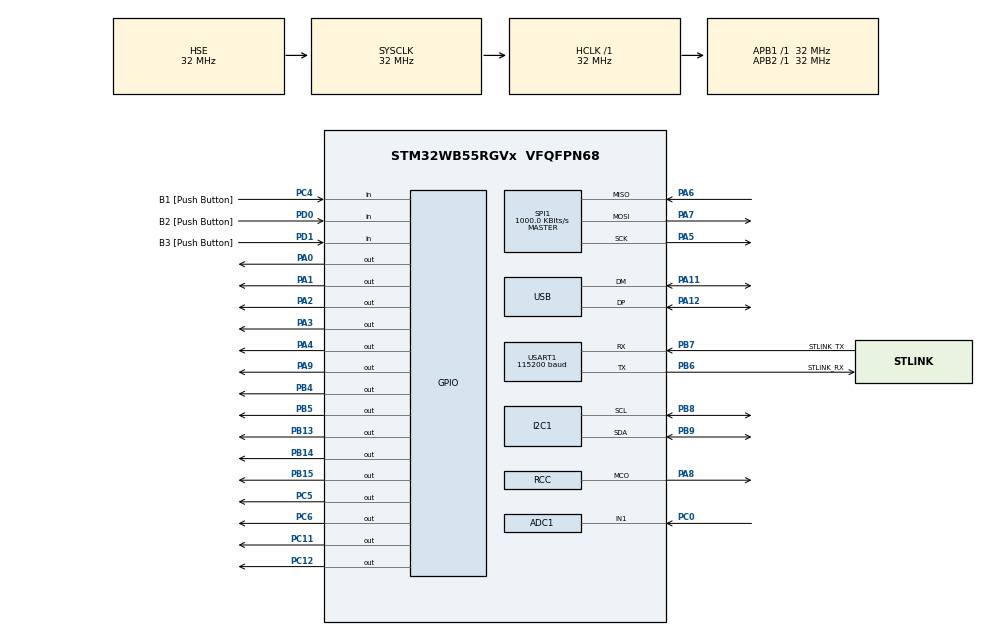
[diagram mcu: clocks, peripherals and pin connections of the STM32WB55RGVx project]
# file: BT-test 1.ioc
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ADC1.Channel-0\#ChannelRegularConversion=ADC_CHANNEL_1
ADC1.NbrOfConversionFlag=1
ADC1.OffsetNumber-0\#ChannelRegularConversion=ADC_OFFSET_NONE
ADC1.Rank-0\#ChannelRegularConversion=1
ADC1.SamplingTime-0\#ChannelRegularConversion=ADC_SAMPLETIME_2CYCLES_5
ADC1.master=1
Dma.Request0=USART1_RX
Dma.Request1=USART1_TX
Dma.USART1_RX.0.Direction=DMA_PERIPH_TO_MEMORY
Dma.USART1_RX.0.EventEnable=DISABLE
Dma.USART1_RX.0.Instance=DMA1_Channel1
Dma.USART1_RX.0.MemDataAlignment=DMA_MDATAALIGN_BYTE
Dma.USART1_RX.0.MemInc=DMA_MINC_ENABLE
Dma.USART1_RX.0.Mode=DMA_NORMAL
Dma.USART1_RX.0.PeriphDataAlignment=DMA_PDATAALIGN_BYTE
Dma.USART1_RX.0.PeriphInc=DMA_PINC_DISABLE
Dma.USART1_RX.0.Polarity=HAL_DMAMUX_REQ_GEN_RISING
Dma.USART1_RX.0.Priority=DMA_PRIORITY_LOW
Dma.USART1_RX.0.RequestNumber=1
Dma.USART1_RX.0.SignalID=NONE
Dma.USART1_RX.0.SyncEnable=DISABLE
Dma.USART1_RX.0.SyncPolarity=HAL_DMAMUX_SYNC_NO_EVENT
Dma.USART1_RX.0.SyncRequestNumber=1
Dma.USART1_RX.0.SyncSignalID=NONE
Dma.USART1_TX.1.Direction=DMA_MEMORY_TO_PERIPH
Dma.USART1_TX.1.EventEnable=DISABLE
Dma.USART1_TX.1.Instance=DMA1_Channel2
Dma.USART1_TX.1.MemDataAlignment=DMA_MDATAALIGN_BYTE
Dma.USART1_TX.1.MemInc=DMA_MINC_ENABLE
Dma.USART1_TX.1.Mode=DMA_NORMAL
Dma.USART1_TX.1.PeriphDataAlignment=DMA_PDATAALIGN_BYTE
Dma.USART1_TX.1.PeriphInc=DMA_PINC_DISABLE
Dma.USART1_TX.1.Polarity=HAL_DMAMUX_REQ_GEN_RISING
Dma.USART1_TX.1.Priority=DMA_PRIORITY_LOW
Dma.USART1_TX.1.RequestNumber=1
Dma.USART1_TX.1.SignalID=NONE
Dma.USART1_TX.1.SyncEnable=DISABLE
Dma.USART1_TX.1.SyncPolarity=HAL_DMAMUX_SYNC_NO_EVENT
Dma.USART1_TX.1.SyncRequestNumber=1
Dma.USART1_TX.1.SyncSignalID=NONE
I2C1.Timing=0x00707CBB
Mcu.Family=STM32WB
Mcu.Name=STM32WB55RGVx
Mcu.Package=VFQFPN68
NVIC.DMA1_Channel1_IRQn=true\:0\:0\:false\:false\:true\:false\:true\:true
NVIC.DMA1_Channel2_IRQn=true\:0\:0\:false\:false\:true\:false\:true\:true
NVIC.HSEM_IRQn=true\:0\:0\:false\:false\:true\:false\:true\:true
NVIC.IPCC_C1_RX_IRQn=true\:0\:0\:false\:false\:true\:true\:true\:true
NVIC.IPCC_C1_TX_IRQn=true\:0\:0\:false\:false\:true\:true\:true\:true
NVIC.PriorityGroup=NVIC_PRIORITYGROUP_4
NVIC.RTC_WKUP_IRQn=true\:0\:0\:false\:false\:true\:true\:true\:true
NVIC.SPI1_IRQn=true\:0\:0\:false\:false\:true\:true\:true\:true
NVIC.USART1_IRQn=true\:0\:0\:false\:false\:true\:true\:true\:true
OSC_IN.Mode=HSE-External-Oscillator
OSC_IN.Signal=RCC_OSC_IN
OSC_OUT.Mode=HSE-External-Oscillator
OSC_OUT.Signal=RCC_OSC_OUT
PA0.Signal=GPIO_Output
PA1.Signal=GPIO_Output
PA11.Mode=Device
PA11.Signal=USB_DM
PA12.Mode=Device
PA12.Signal=USB_DP
PA13.GPIO_Label=JTMS
PA13.Mode=Serial_Wire
PA13.Signal=SYS_JTMS-SWDIO
PA14.GPIO_Label=JTCK
PA14.Mode=Serial_Wire
PA14.Signal=SYS_JTCK-SWCLK
PA2.Signal=GPIO_Output
PA3.Signal=GPIO_Output
PA4.Signal=GPIO_Output
PA5.Mode=Full_Duplex_Master
PA5.Signal=SPI1_SCK
PA6.Mode=Full_Duplex_Master
PA6.Signal=SPI1_MISO
PA7.Mode=Full_Duplex_Master
PA7.Signal=SPI1_MOSI
PA8.Mode=Clock-out
PA8.Signal=RCC_MCO
PA9.Signal=GPIO_Output
PB13.Signal=GPIO_Output
PB14.Signal=GPIO_Output
PB15.Signal=GPIO_Output
PB3.GPIO_Label=JTDO
PB3.Signal=SYS_JTDO-SWO
PB4.Signal=GPIO_Output
PB5.Signal=GPIO_Output
PB6.GPIO_Label=STLINK_RX
PB6.GPIO_PuPd=GPIO_PULLUP
PB6.Mode=Asynchronous
PB6.Signal=USART1_TX
PB7.GPIO_Label=STLINK_TX
PB7.GPIO_PuPd=GPIO_PULLUP
PB7.Mode=Asynchronous
PB7.Signal=USART1_RX
PB8.GPIO_Pu=GPIO_PULLUP
PB8.GPIO_Speed=GPIO_SPEED_FREQ_VERY_HIGH
PB8.Mode=I2C
PB8.Signal=I2C1_SCL
PB9.GPIO_Pu=GPIO_PULLUP
PB9.GPIO_Speed=GPIO_SPEED_FREQ_VERY_HIGH
PB9.Mode=I2C
PB9.Signal=I2C1_SDA
PC0.Signal=ADCx_IN1
PC11.Signal=GPIO_Output
PC12.Signal=GPIO_Output
PC13.Signal=SYS_WKUP2
PC14-OSC32_IN.Mode=LSE-External-Oscillator
PC14-OSC32_IN.Signal=RCC_OSC32_IN
PC15-OSC32_OUT.Mode=LSE-External-Oscillator
PC15-OSC32_OUT.Signal=RCC_OSC32_OUT
PC4.GPIO_Label=B1 [Push Button]
PC4.Signal=GPIO_Input
PC5.Signal=GPIO_Output
PC6.Signal=GPIO_Output
PD0.GPIO_Label=B2 [Push Button]
PD0.Signal=GPIO_Input
PD1.GPIO_Label=B3 [Push Button]
PD1.Signal=GPIO_Input
ProjectManager.HeapSize=0x200
ProjectManager.StackSize=0x400
ProjectManager.TargetToolchain=STM32CubeIDE
RCC.ADCFreq_Value=48000000
RCC.AHBFreq_Value=32000000
RCC.APB1Freq_Value=32000000
RCC.APB1TimFreq_Value=32000000
RCC.APB2Freq_Value=32000000
RCC.APB2TimFreq_Value=32000000
RCC.APB3Freq_Value=16000000
RCC.CortexFreq_Value=32000000
RCC.HCLKFreq_Value=32000000
RCC.HSE_VALUE=32000000
RCC.HSI48_VALUE=48000000
RCC.HSI_VALUE=16000000
RCC.PLLN=32
RCC.PLLP=RCC_PLLP_DIV7
RCC.PLLSAI1N=24
RCC.RFWKPClockSelection=RCC_RFWKPCLKSOURCE_LSE
RCC.RTCClockSelection=RCC_RTCCLKSOURCE_LSE
RCC.SMPSCLockSelectionVirtual=RCC_SMPSCLKSOURCE_HSI
RCC.SMPSCLockSelectionVirtualVirtual=RCC_SMPSCLKSOURCE_HSI
RCC.SMPSDivider=1
RCC.SYSCLKFreq_VALUE=32000000
RCC.SYSCLKSource=RCC_SYSCLKSOURCE_HSE
RCC.USBFreq_Value=48000000
RCC.VCOOutputFreq_Value=128000000
RF1.Mode=RF1_Activate
RF1.Signal=RF_RF1
SH.ADCx_IN1.0=ADC1_IN1,IN1-Single-Ended
SPI1.BaudRatePrescaler=SPI_BAUDRATEPRESCALER_32
SPI1.CalculateBaudRate=1000.0 KBits/s
SPI1.DataSize=SPI_DATASIZE_8BIT
SPI1.Direction=SPI_DIRECTION_2LINES
SPI1.Mode=SPI_MODE_MASTER
SPI1.NSSPMode=SPI_NSS_PULSE_DISABLE
SPI1.VirtualType=VM_MASTER
STM32_WPAN.AD_TYPE_COMPLETE_LOCAL_NAME=SMRTGLV
STM32_WPAN.AD_TYPE_COMPLETE_LOCAL_NAME_LENGTH=8
STM32_WPAN.CFG_GAP_DEVICE_NAME=smartGlv
STM32_WPAN.CUSTOM_P2P_SERVER=Disabled
STM32_WPAN.CUSTOM_TEMPLATE=Enabled
STM32_WPAN.INCLUDE_AD_TYPE_COMPLETE_LOCAL_NAME=1
STM32_WPAN.NUMBER_OF_SERVICES=1
STM32_WPAN.SERVICE1_CHAR1_LONG_NAME=fingerPack
STM32_WPAN.SERVICE1_CHAR1_PROP_NOTIFY=CHAR_PROP_NOTIFY
STM32_WPAN.SERVICE1_CHAR1_SHORT_NAME=f1
STM32_WPAN.SERVICE1_CHAR1_VALUE_LENGTH=15
STM32_WPAN.SERVICE1_CHAR2_LONG_NAME=handPack
STM32_WPAN.SERVICE1_CHAR2_PROP_NOTIFY=CHAR_PROP_NOTIFY
STM32_WPAN.SERVICE1_CHAR2_SHORT_NAME=f2
STM32_WPAN.SERVICE1_CHAR2_UUID=00 01
STM32_WPAN.SERVICE1_CHAR2_VALUE_LENGTH=12
STM32_WPAN.SERVICE1_CHAR3_LONG_NAME=fingerThree
STM32_WPAN.SERVICE1_CHAR3_PROP_NOTIFY=CHAR_PROP_NOTIFY
STM32_WPAN.SERVICE1_CHAR3_SHORT_NAME=f3
STM32_WPAN.SERVICE1_CHAR3_UUID=00 02
STM32_WPAN.SERVICE1_CHAR3_VALUE_LENGTH=4
STM32_WPAN.SERVICE1_CHAR4_LONG_NAME=fingerFour
STM32_WPAN.SERVICE1_CHAR4_PROP_NOTIFY=CHAR_PROP_NOTIFY
STM32_WPAN.SERVICE1_CHAR4_SHORT_NAME=f4
STM32_WPAN.SERVICE1_CHAR4_UUID=00 03
STM32_WPAN.SERVICE1_CHAR4_VALUE_LENGTH=4
STM32_WPAN.SERVICE1_CHAR5_LONG_NAME=thumbData
STM32_WPAN.SERVICE1_CHAR5_PROP_NOTIFY=CHAR_PROP_NOTIFY
STM32_WPAN.SERVICE1_CHAR5_SHORT_NAME=tData
STM32_WPAN.SERVICE1_CHAR5_UUID=00 04
STM32_WPAN.SERVICE1_CHAR5_VALUE_LENGTH=4
STM32_WPAN.SERVICE1_LONG_NAME=smartGlove
STM32_WPAN.SERVICE1_NUMBER_OF_CHARACTERISTICS=2
STM32_WPAN.SERVICE1_SHORT_NAME=smrtGlv
USART1.BaudRate=115200
USART1.VirtualMode-Asynchronous=VM_ASYNC
USART1.WordLength=WORDLENGTH_8B
VP_HSEM_VS_HSEM.Mode=HSEM_Activate
VP_IPCC_VS_IPCC.Mode=IPCC_Activate
VP_MEMORYMAP_VS_MEMORYMAP.Mode=CurAppReg
VP_RTC_VS_RTC_Activate.Mode=RTC_Enabled
VP_RTC_VS_RTC_WakeUp_intern.Mode=WakeUp
VP_SEQUENCER_VS_SEQUENCER.Mode=SEQUENCER_Enabled
VP_STM32_WPAN_VS_BLE_HOST.Mode=STM32_WPAN_Enabled
VP_TINY_LPM_VS_TINY_LPM.Mode=TINY_LPM_Enabled
board=NUCLEO-WB55RG

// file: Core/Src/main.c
/* USER CODE BEGIN Header */
/**
  ******************************************************************************
  * @file           : main.c
  * @brief          : Main program body
  ******************************************************************************
  * @attention
  *
  * Copyright (c) 2024 STMicroelectronics.
  * All rights reserved.
  *
  * This software is licensed under terms that can be found in the LICENSE file
  * in the root directory of this software component.
  * If no LICENSE file comes with this software, it is provided AS-IS.
  *
  ******************************************************************************
  */
/* USER CODE END Header */
#include "main.h"

/* USER CODE BEGIN Includes */
#include "bmi323_task.h"
#include "init.h"
#include "ADS1115.h"

/* USER CODE END Includes */

ADC_HandleTypeDef hadc1;

I2C_HandleTypeDef hi2c1;

IPCC_HandleTypeDef hipcc;

RTC_HandleTypeDef hrtc;

SPI_HandleTypeDef hspi1;

UART_HandleTypeDef huart1;
DMA_HandleTypeDef hdma_usart1_rx;
DMA_HandleTypeDef hdma_usart1_tx;

PCD_HandleTypeDef hpcd_USB_FS;

void SystemClock_Config(void);
void PeriphCommonClock_Config(void);
static void MX_GPIO_Init(void);
static void MX_DMA_Init(void);
static void MX_USART1_UART_Init(void);
static void MX_USB_PCD_Init(void);
static void MX_SPI1_Init(void);
static void MX_IPCC_Init(void);
static void MX_RTC_Init(void);
static void MX_ADC1_Init(void);
static void MX_I2C1_Init(void);
static void MX_RF_Init(void);

/* USER CODE BEGIN 0 */
struct bmi3_dev dev[11];
Hand hand;
Finger finger;
vec3 hand_basis[3];
rotation_vec3 rotation_data;
IMUData hand_sensor_data;
FingerSensorData finger_sensor_data[5];

/* USER CODE END 0 */

int main(void)
{

  /* MCU Configuration--------------------------------------------------------*/

  /* Reset of all peripherals, Initializes the Flash interface and the Systick. */
  HAL_Init();
  /* Config code for STM32_WPAN (HSE Tuning must be done before system clock configuration) */
  MX_APPE_Config();

  /* Configure the system clock */
  SystemClock_Config();

/* Configure the peripherals common clocks */
  PeriphCommonClock_Config();

  /* IPCC initialisation */
  MX_IPCC_Init();

  /* Initialize all configured peripherals */
  MX_GPIO_Init();
  MX_DMA_Init();
  MX_USART1_UART_Init();
  MX_USB_PCD_Init();
  MX_SPI1_Init();
  MX_RTC_Init();
  MX_ADC1_Init();
  MX_I2C1_Init();
  MX_RF_Init();

  /* Init code for STM32_WPAN */
  MX_APPE_Init();

  /* Infinite loop */
  /* USER CODE BEGIN WHILE */

	int8_t rslt = BMI3_OK;
	uint8_t flag;

/* Implementation of the sensor read/write function cannot really be changed so here we go*/
	dev[0].read = (bmi3_read_fptr_t)SensorAPI_SPIx_Read1;
	dev[0].write = (bmi3_write_fptr_t)SensorAPI_SPIx_Write1;
	Init_BMI323(&dev[0]);
	HAL_Delay(10);

	dev[1].read = (bmi3_read_fptr_t)SensorAPI_SPIx_Read2;
	dev[1].write = (bmi3_write_fptr_t)SensorAPI_SPIx_Write2;
	Init_BMI323(&dev[1]);
	HAL_Delay(10);

	dev[2].read = (bmi3_read_fptr_t)SensorAPI_SPIx_Read3;
	dev[2].write = (bmi3_write_fptr_t)SensorAPI_SPIx_Write3;
	Init_BMI323(&dev[2]);
	HAL_Delay(10);

	dev[3].read = (bmi3_read_fptr_t)SensorAPI_SPIx_Read4;
	dev[3].write = (bmi3_write_fptr_t)SensorAPI_SPIx_Write4;
	Init_BMI323(&dev[3]);
	HAL_Delay(10);

	dev[4].read = (bmi3_read_fptr_t)SensorAPI_SPIx_Read5;
	dev[4].write = (bmi3_write_fptr_t)SensorAPI_SPIx_Write5;
	Init_BMI323(&dev[4]);
	HAL_Delay(10);

	dev[5].read = (bmi3_read_fptr_t)SensorAPI_SPIx_Read6;
	dev[5].write = (bmi3_write_fptr_t)SensorAPI_SPIx_Write6;
	Init_BMI323(&dev[5]);
	HAL_Delay(10);

	dev[6].read = (bmi3_read_fptr_t)SensorAPI_SPIx_Read7;
	dev[6].write = (bmi3_write_fptr_t)SensorAPI_SPIx_Write7;
	Init_BMI323(&dev[6]);
	HAL_Delay(10);

	dev[7].read = (bmi3_read_fptr_t)SensorAPI_SPIx_Read8;
	dev[7].write = (bmi3_write_fptr_t)SensorAPI_SPIx_Write8;
	Init_BMI323(&dev[7]);
	HAL_Delay(10);

	dev[8].read = (bmi3_read_fptr_t)SensorAPI_SPIx_Read9;
	dev[8].write = (bmi3_write_fptr_t)SensorAPI_SPIx_Write9;
	Init_BMI323(&dev[8]);
	HAL_Delay(10);

	dev[9].read = (bmi3_read_fptr_t)SensorAPI_SPIx_Read10;
	dev[9].write = (bmi3_write_fptr_t)SensorAPI_SPIx_Write10;
	Init_BMI323(&dev[9]);
	HAL_Delay(10);

	dev[10].read = (bmi3_read_fptr_t)SensorAPI_SPIx_Read11;
	dev[10].write = (bmi3_write_fptr_t)SensorAPI_SPIx_Write11;
	Init_BMI323(&dev[10]);
	HAL_Delay(10);

	// ignore init messages
	HAL_Delay(1000);
	initialize_hand(&hand, &hand_sensor_data, finger_sensor_data);
	// init adc

  while (1)
  {
    /* USER CODE END WHILE */
	PDEBUG("Ready!\n");
    MX_APPE_Process();

    /* USER CODE BEGIN 3 */

//	bmi3_get_regs(BMI3_REG_STATUS, &flag, 1, &dev);
//	if((flag & 0x40) == 0) continue;
//	read_sensor(dev, data);
//	bmi3_get_regs(BMI3_REG_STATUS, &flag, 1, &dev2);
//	if((flag & 0x40) == 0) continue;
//	read_sensor(dev2, data);
//	HAL_Delay(1);
//
//	bmi3_get_regs(BMI3_REG_STATUS, &flag, 1, &dev);
//	if((flag & 0x40) == 0) continue;
//	read_sensor(dev, data);
//	bmi3_get_regs(BMI3_REG_STATUS, &flag, 1, &dev2);
//	if((flag & 0x40) == 0) continue;
//	read_sensor(dev2, data);
//	HAL_Delay(1);
//
//	bmi3_get_regs(BMI3_REG_STATUS, &flag, 1, &dev);
//	if((flag & 0x40) == 0) continue;
//	read_sensor(dev, data);
//	bmi3_get_regs(BMI3_REG_STATUS, &flag, 1, &dev2);
//	if((flag & 0x40) == 0) continue;
//	read_sensor(dev2, data);
//	HAL_Delay(1);
//
//	bmi3_get_regs(BMI3_REG_STATUS, &flag, 1, &dev);
//	if((flag & 0x40) == 0) continue;
//	read_sensor(dev, data);
//	bmi3_get_regs(BMI3_REG_STATUS, &flag, 1, &dev2);
//	if((flag & 0x40) == 0) continue;
//	read_sensor(dev2, data);
//	HAL_Delay(1);
//
//	bmi3_get_regs(BMI3_REG_STATUS, &flag, 1, &dev);
//	if((flag & 0x40) == 0) continue;
//	read_sensor(dev, data);
  }
  /* USER CODE END 3 */
}

void SystemClock_Config(void)
{
  RCC_OscInitTypeDef RCC_OscInitStruct = {0};
  RCC_ClkInitTypeDef RCC_ClkInitStruct = {0};

  /** Macro to configure the PLL multiplication factor
  */
  __HAL_RCC_PLL_PLLM_CONFIG(RCC_PLLM_DIV1);

  /** Macro to configure the PLL clock source
  */
  __HAL_RCC_PLL_PLLSOURCE_CONFIG(RCC_PLLSOURCE_MSI);

  /** Configure LSE Drive Capability
  */
  HAL_PWR_EnableBkUpAccess();
  __HAL_RCC_LSEDRIVE_CONFIG(RCC_LSEDRIVE_MEDIUMHIGH);

  /** Configure the main internal regulator output voltage
  */
  __HAL_PWR_VOLTAGESCALING_CONFIG(PWR_REGULATOR_VOLTAGE_SCALE1);

  /** Initializes the RCC Oscillators according to the specified parameters
  * in the RCC_OscInitTypeDef structure.
  */
  RCC_OscInitStruct.OscillatorType = RCC_OSCILLATORTYPE_HSI|RCC_OSCILLATORTYPE_HSE
                              |RCC_OSCILLATORTYPE_LSE|RCC_OSCILLATORTYPE_MSI;
  RCC_OscInitStruct.HSEState = RCC_HSE_ON;
  RCC_OscInitStruct.LSEState = RCC_LSE_ON;
  RCC_OscInitStruct.HSIState = RCC_HSI_ON;
  RCC_OscInitStruct.MSIState = RCC_MSI_ON;
  RCC_OscInitStruct.HSICalibrationValue = RCC_HSICALIBRATION_DEFAULT;
  RCC_OscInitStruct.MSICalibrationValue = RCC_MSICALIBRATION_DEFAULT;
  RCC_OscInitStruct.MSIClockRange = RCC_MSIRANGE_6;
  RCC_OscInitStruct.PLL.PLLState = RCC_PLL_NONE;
  if (HAL_RCC_OscConfig(&RCC_OscInitStruct) != HAL_OK)
  {
    Error_Handler();
  }

  /** Configure the SYSCLKSource, HCLK, PCLK1 and PCLK2 clocks dividers
  */
  RCC_ClkInitStruct.ClockType = RCC_CLOCKTYPE_HCLK4|RCC_CLOCKTYPE_HCLK2
                              |RCC_CLOCKTYPE_HCLK|RCC_CLOCKTYPE_SYSCLK
                              |RCC_CLOCKTYPE_PCLK1|RCC_CLOCKTYPE_PCLK2;
  RCC_ClkInitStruct.SYSCLKSource = RCC_SYSCLKSOURCE_HSE;
  RCC_ClkInitStruct.AHBCLKDivider = RCC_SYSCLK_DIV1;
  RCC_ClkInitStruct.APB1CLKDivider = RCC_HCLK_DIV1;
  RCC_ClkInitStruct.APB2CLKDivider = RCC_HCLK_DIV1;
  RCC_ClkInitStruct.AHBCLK2Divider = RCC_SYSCLK_DIV1;
  RCC_ClkInitStruct.AHBCLK4Divider = RCC_SYSCLK_DIV1;

  if (HAL_RCC_ClockConfig(&RCC_ClkInitStruct, FLASH_LATENCY_1) != HAL_OK)
  {
    Error_Handler();
  }
  HAL_RCC_MCOConfig(RCC_MCO1, RCC_MCO1SOURCE_SYSCLK, RCC_MCODIV_1);

  /** Enable MSI Auto calibration
  */
  HAL_RCCEx_EnableMSIPLLMode();
}

void PeriphCommonClock_Config(void)
{
  RCC_PeriphCLKInitTypeDef PeriphClkInitStruct = {0};

  /** Initializes the peripherals clock
  */
  PeriphClkInitStruct.PeriphClockSelection = RCC_PERIPHCLK_SMPS|RCC_PERIPHCLK_RFWAKEUP
                              |RCC_PERIPHCLK_USB|RCC_PERIPHCLK_ADC;
  PeriphClkInitStruct.PLLSAI1.PLLN = 24;
  PeriphClkInitStruct.PLLSAI1.PLLP = RCC_PLLP_DIV2;
  PeriphClkInitStruct.PLLSAI1.PLLQ = RCC_PLLQ_DIV2;
  PeriphClkInitStruct.PLLSAI1.PLLR = RCC_PLLR_DIV2;
  PeriphClkInitStruct.PLLSAI1.PLLSAI1ClockOut = RCC_PLLSAI1_USBCLK|RCC_PLLSAI1_ADCCLK;
  PeriphClkInitStruct.UsbClockSelection = RCC_USBCLKSOURCE_PLLSAI1;
  PeriphClkInitStruct.AdcClockSelection = RCC_ADCCLKSOURCE_PLLSAI1;
  PeriphClkInitStruct.RFWakeUpClockSelection = RCC_RFWKPCLKSOURCE_LSE;
  PeriphClkInitStruct.SmpsClockSelection = RCC_SMPSCLKSOURCE_HSI;
  PeriphClkInitStruct.SmpsDivSelection = RCC_SMPSCLKDIV_RANGE0;

  if (HAL_RCCEx_PeriphCLKConfig(&PeriphClkInitStruct) != HAL_OK)
  {
    Error_Handler();
  }
}

static void MX_ADC1_Init(void)
{

  ADC_ChannelConfTypeDef sConfig = {0};

  /** Common config
  */
  hadc1.Instance = ADC1;
  hadc1.Init.ClockPrescaler = ADC_CLOCK_ASYNC_DIV1;
  hadc1.Init.Resolution = ADC_RESOLUTION_12B;
  hadc1.Init.DataAlign = ADC_DATAALIGN_RIGHT;
  hadc1.Init.ScanConvMode = ADC_SCAN_DISABLE;
  hadc1.Init.EOCSelection = ADC_EOC_SINGLE_CONV;
  hadc1.Init.LowPowerAutoWait = DISABLE;
  hadc1.Init.ContinuousConvMode = DISABLE;
  hadc1.Init.NbrOfConversion = 1;
  hadc1.Init.DiscontinuousConvMode = DISABLE;
  hadc1.Init.ExternalTrigConv = ADC_SOFTWARE_START;
  hadc1.Init.ExternalTrigConvEdge = ADC_EXTERNALTRIGCONVEDGE_NONE;
  hadc1.Init.DMAContinuousRequests = DISABLE;
  hadc1.Init.Overrun = ADC_OVR_DATA_PRESERVED;
  hadc1.Init.OversamplingMode = DISABLE;
  if (HAL_ADC_Init(&hadc1) != HAL_OK)
  {
    Error_Handler();
  }

  /** Configure Regular Channel
  */
  sConfig.Channel = ADC_CHANNEL_1;
  sConfig.Rank = ADC_REGULAR_RANK_1;
  sConfig.SamplingTime = ADC_SAMPLETIME_2CYCLES_5;
  sConfig.SingleDiff = ADC_SINGLE_ENDED;
  sConfig.OffsetNumber = ADC_OFFSET_NONE;
  sConfig.Offset = 0;
  if (HAL_ADC_ConfigChannel(&hadc1, &sConfig) != HAL_OK)
  {
    Error_Handler();
  }

}

static void MX_I2C1_Init(void)
{

  hi2c1.Instance = I2C1;
  hi2c1.Init.Timing = 0x00707CBB;
  hi2c1.Init.OwnAddress1 = 0;
  hi2c1.Init.AddressingMode = I2C_ADDRESSINGMODE_7BIT;
  hi2c1.Init.DualAddressMode = I2C_DUALADDRESS_DISABLE;
  hi2c1.Init.OwnAddress2 = 0;
  hi2c1.Init.OwnAddress2Masks = I2C_OA2_NOMASK;
  hi2c1.Init.GeneralCallMode = I2C_GENERALCALL_DISABLE;
  hi2c1.Init.NoStretchMode = I2C_NOSTRETCH_DISABLE;
  if (HAL_I2C_Init(&hi2c1) != HAL_OK)
  {
    Error_Handler();
  }

  /** Configure Analogue filter
  */
  if (HAL_I2CEx_ConfigAnalogFilter(&hi2c1, I2C_ANALOGFILTER_ENABLE) != HAL_OK)
  {
    Error_Handler();
  }

  /** Configure Digital filter
  */
  if (HAL_I2CEx_ConfigDigitalFilter(&hi2c1, 0) != HAL_OK)
  {
    Error_Handler();
  }

}

static void MX_IPCC_Init(void)
{

  hipcc.Instance = IPCC;
  if (HAL_IPCC_Init(&hipcc) != HAL_OK)
  {
    Error_Handler();
  }

}

static void MX_RF_Init(void)
{

}

static void MX_RTC_Init(void)
{

  /** Initialize RTC Only
  */
  hrtc.Instance = RTC;
  hrtc.Init.HourFormat = RTC_HOURFORMAT_24;
  hrtc.Init.AsynchPrediv = CFG_RTC_ASYNCH_PRESCALER;
  hrtc.Init.SynchPrediv = CFG_RTC_SYNCH_PRESCALER;
  hrtc.Init.OutPut = RTC_OUTPUT_DISABLE;
  hrtc.Init.OutPutPolarity = RTC_OUTPUT_POLARITY_HIGH;
  hrtc.Init.OutPutType = RTC_OUTPUT_TYPE_OPENDRAIN;
  hrtc.Init.OutPutRemap = RTC_OUTPUT_REMAP_NONE;
  if (HAL_RTC_Init(&hrtc) != HAL_OK)
  {
    Error_Handler();
  }

  /** Enable the WakeUp
  */
  if (HAL_RTCEx_SetWakeUpTimer_IT(&hrtc, 0, RTC_WAKEUPCLOCK_RTCCLK_DIV16) != HAL_OK)
  {
    Error_Handler();
  }

}

static void MX_SPI1_Init(void)
{

  /* SPI1 parameter configuration*/
  hspi1.Instance = SPI1;
  hspi1.Init.Mode = SPI_MODE_MASTER;
  hspi1.Init.Direction = SPI_DIRECTION_2LINES;
  hspi1.Init.DataSize = SPI_DATASIZE_8BIT;
  hspi1.Init.CLKPolarity = SPI_POLARITY_LOW;
  hspi1.Init.CLKPhase = SPI_PHASE_1EDGE;
  hspi1.Init.NSS = SPI_NSS_SOFT;
  hspi1.Init.BaudRatePrescaler = SPI_BAUDRATEPRESCALER_32;
  hspi1.Init.FirstBit = SPI_FIRSTBIT_MSB;
  hspi1.Init.TIMode = SPI_TIMODE_DISABLE;
  hspi1.Init.CRCCalculation = SPI_CRCCALCULATION_DISABLE;
  hspi1.Init.CRCPolynomial = 7;
  hspi1.Init.CRCLength = SPI_CRC_LENGTH_DATASIZE;
  hspi1.Init.NSSPMode = SPI_NSS_PULSE_DISABLE;
  if (HAL_SPI_Init(&hspi1) != HAL_OK)
  {
    Error_Handler();
  }

}

static void MX_USART1_UART_Init(void)
{

  huart1.Instance = USART1;
  huart1.Init.BaudRate = 115200;
  huart1.Init.WordLength = UART_WORDLENGTH_8B;
  huart1.Init.StopBits = UART_STOPBITS_1;
  huart1.Init.Parity = UART_PARITY_NONE;
  huart1.Init.Mode = UART_MODE_TX_RX;
  huart1.Init.HwFlowCtl = UART_HWCONTROL_NONE;
  huart1.Init.OverSampling = UART_OVERSAMPLING_16;
  huart1.Init.OneBitSampling = UART_ONE_BIT_SAMPLE_DISABLE;
  huart1.Init.ClockPrescaler = UART_PRESCALER_DIV1;
  huart1.AdvancedInit.AdvFeatureInit = UART_ADVFEATURE_NO_INIT;
  if (HAL_UART_Init(&huart1) != HAL_OK)
  {
    Error_Handler();
  }
  if (HAL_UARTEx_SetTxFifoThreshold(&huart1, UART_TXFIFO_THRESHOLD_1_8) != HAL_OK)
  {
    Error_Handler();
  }
  if (HAL_UARTEx_SetRxFifoThreshold(&huart1, UART_RXFIFO_THRESHOLD_1_8) != HAL_OK)
  {
    Error_Handler();
  }
  if (HAL_UARTEx_DisableFifoMode(&huart1) != HAL_OK)
  {
    Error_Handler();
  }

}

static void MX_USB_PCD_Init(void)
{

  hpcd_USB_FS.Instance = USB;
  hpcd_USB_FS.Init.dev_endpoints = 8;
  hpcd_USB_FS.Init.speed = PCD_SPEED_FULL;
  hpcd_USB_FS.Init.phy_itface = PCD_PHY_EMBEDDED;
  hpcd_USB_FS.Init.Sof_enable = DISABLE;
  hpcd_USB_FS.Init.low_power_enable = DISABLE;
  hpcd_USB_FS.Init.lpm_enable = DISABLE;
  hpcd_USB_FS.Init.battery_charging_enable = DISABLE;
  if (HAL_PCD_Init(&hpcd_USB_FS) != HAL_OK)
  {
    Error_Handler();
  }

}

static void MX_DMA_Init(void)
{

  /* DMA controller clock enable */
  __HAL_RCC_DMAMUX1_CLK_ENABLE();
  __HAL_RCC_DMA1_CLK_ENABLE();

  /* DMA interrupt init */
  /* DMA1_Channel1_IRQn interrupt configuration */
  HAL_NVIC_SetPriority(DMA1_Channel1_IRQn, 0, 0);
  HAL_NVIC_EnableIRQ(DMA1_Channel1_IRQn);
  /* DMA1_Channel2_IRQn interrupt configuration */
  HAL_NVIC_SetPriority(DMA1_Channel2_IRQn, 0, 0);
  HAL_NVIC_EnableIRQ(DMA1_Channel2_IRQn);

}

static void MX_GPIO_Init(void)
{
  GPIO_InitTypeDef GPIO_InitStruct = {0};

  /* GPIO Ports Clock Enable */
  __HAL_RCC_GPIOC_CLK_ENABLE();
  __HAL_RCC_GPIOB_CLK_ENABLE();
  __HAL_RCC_GPIOA_CLK_ENABLE();
  __HAL_RCC_GPIOD_CLK_ENABLE();

  /*Configure GPIO pin Output Level */
  HAL_GPIO_WritePin(GPIOA, GPIO_PIN_0|GPIO_PIN_1|GPIO_PIN_2|GPIO_PIN_3
                          |GPIO_PIN_4|GPIO_PIN_9, GPIO_PIN_RESET);

  /*Configure GPIO pin Output Level */
  HAL_GPIO_WritePin(GPIOC, GPIO_PIN_5|GPIO_PIN_6|GPIO_PIN_11|GPIO_PIN_12, GPIO_PIN_RESET);

  /*Configure GPIO pin Output Level */
  HAL_GPIO_WritePin(GPIOB, GPIO_PIN_13|GPIO_PIN_14|GPIO_PIN_15|GPIO_PIN_4
                          |GPIO_PIN_5, GPIO_PIN_RESET);

  /*Configure GPIO pins : PA0 PA1 PA2 PA3
                           PA4 PA9 */
  GPIO_InitStruct.Pin = GPIO_PIN_0|GPIO_PIN_1|GPIO_PIN_2|GPIO_PIN_3
                          |GPIO_PIN_4|GPIO_PIN_9;
  GPIO_InitStruct.Mode = GPIO_MODE_OUTPUT_PP;
  GPIO_InitStruct.Pull = GPIO_NOPULL;
  GPIO_InitStruct.Speed = GPIO_SPEED_FREQ_LOW;
  HAL_GPIO_Init(GPIOA, &GPIO_InitStruct);

  /*Configure GPIO pin : PA8 */
  GPIO_InitStruct.Pin = GPIO_PIN_8;
  GPIO_InitStruct.Mode = GPIO_MODE_AF_PP;
  GPIO_InitStruct.Pull = GPIO_NOPULL;
  GPIO_InitStruct.Speed = GPIO_SPEED_FREQ_LOW;
  GPIO_InitStruct.Alternate = GPIO_AF0_MCO;
  HAL_GPIO_Init(GPIOA, &GPIO_InitStruct);

  /*Configure GPIO pin : B1_Pin */
  GPIO_InitStruct.Pin = B1_Pin;
  GPIO_InitStruct.Mode = GPIO_MODE_INPUT;
  GPIO_InitStruct.Pull = GPIO_NOPULL;
  HAL_GPIO_Init(B1_GPIO_Port, &GPIO_InitStruct);

  /*Configure GPIO pins : PC5 PC6 PC11 PC12 */
  GPIO_InitStruct.Pin = GPIO_PIN_5|GPIO_PIN_6|GPIO_PIN_11|GPIO_PIN_12;
  GPIO_InitStruct.Mode = GPIO_MODE_OUTPUT_PP;
  GPIO_InitStruct.Pull = GPIO_NOPULL;
  GPIO_InitStruct.Speed = GPIO_SPEED_FREQ_LOW;
  HAL_GPIO_Init(GPIOC, &GPIO_InitStruct);

  /*Configure GPIO pins : PB13 PB14 PB15 PB4
                           PB5 */
  GPIO_InitStruct.Pin = GPIO_PIN_13|GPIO_PIN_14|GPIO_PIN_15|GPIO_PIN_4
                          |GPIO_PIN_5;
  GPIO_InitStruct.Mode = GPIO_MODE_OUTPUT_PP;
  GPIO_InitStruct.Pull = GPIO_NOPULL;
  GPIO_InitStruct.Speed = GPIO_SPEED_FREQ_LOW;
  HAL_GPIO_Init(GPIOB, &GPIO_InitStruct);

  /*Configure GPIO pins : B2_Pin B3_Pin */
  GPIO_InitStruct.Pin = B2_Pin|B3_Pin;
  GPIO_InitStruct.Mode = GPIO_MODE_INPUT;
  GPIO_InitStruct.Pull = GPIO_NOPULL;
  HAL_GPIO_Init(GPIOD, &GPIO_InitStruct);

}

void Error_Handler(void)
{
  __disable_irq();
  while (1)
  {
  }
}
